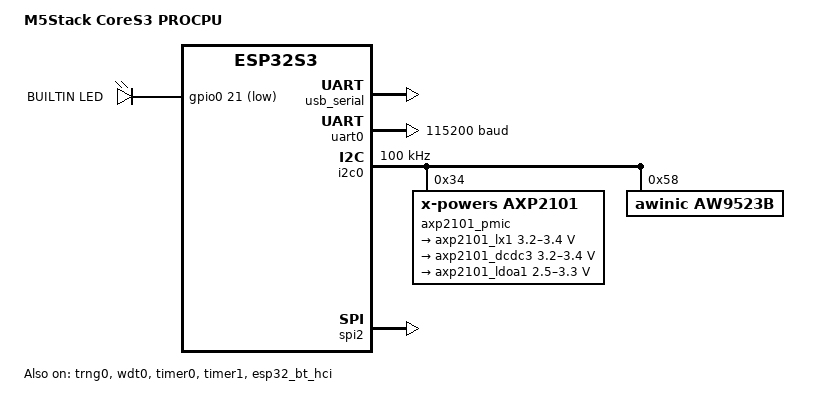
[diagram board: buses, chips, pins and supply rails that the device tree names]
/*
 * Copyright (c) 2024 Zhang Xingtao <zhxt@live.cn>
 *
 * SPDX-License-Identifier: Apache-2.0
 */

/dts-v1/;

#include <espressif/esp32s3/esp32s3_wroom_n16r8.dtsi>
#include "m5stack_cores3-pinctrl.dtsi"
#include <zephyr/dt-bindings/display/ili9xxx.h>
#include <zephyr/dt-bindings/gpio/gpio.h>

/ {
	model = "M5Stack CoreS3 PROCPU";
	compatible = "m5stack,cores3";

	chosen {
		zephyr,sram = &sram0;
		zephyr,console = &usb_serial;
		zephyr,shell-uart = &usb_serial;
		zephyr,flash = &flash0;
		zephyr,code-partition = &slot0_partition;
		zephyr,bt-hci = &esp32_bt_hci;
	};

	aliases {
		i2c-0 = &i2c0;
		watchdog0 = &wdt0;
		led0 = &led0;
	};

	leds {
		compatible = "gpio-leds";
		led0: led_0 {
			gpios = <&gpio0 21 GPIO_ACTIVE_LOW>;
			label = "BUILTIN LED";
		};
	};
};

&usb_serial {
	status = "okay";
};

&uart0 {
	status = "okay";
	current-speed = <115200>;
	pinctrl-0 = <&uart0_default>;
	pinctrl-names = "default";
};

&i2c0 {
	status = "okay";
	clock-frequency = <I2C_BITRATE_STANDARD>;
	pinctrl-0 = <&i2c0_default>;
	pinctrl-names = "default";

        axp2101_pmic: axp2101@34 {
                compatible = "x-powers,axp2101";
                reg = <0x34>;
                status = "okay";

                axp2101_regulator: axp2101_regulator {
                        compatible = "x-powers,axp2101-regulator";
                        status = "okay";

                        axp2101_lx1: DCDC1 {
                                regulator-init-microvolt = <3350000>;
                                regulator-min-microvolt = <3200000>;
                                regulator-max-microvolt = <3400000>;
                                regulator-initial-mode = < 0x0 >;
                                regulator-boot-on;
                                regulator-always-on;
                                status = "okay";
                        };

                       axp2101_dcdc3: DCDC3 {
                                regulator-init-microvolt = <3350000>;
                                regulator-min-microvolt = <3200000>;
                                regulator-max-microvolt = <3400000>;
                                regulator-initial-mode = < 0x0 >;
                                regulator-boot-on;
                                regulator-always-on;
                                status = "okay";
                        };

                        axp2101_ldoa1: LDOA1 {
                                regulator-init-microvolt = <2800000>;
                                regulator-min-microvolt = <2500000>;
                                regulator-max-microvolt = <3300000>;
                                regulator-initial-mode = < 0x0 >;
                                status = "okay";
                        };
		};
	};

        aw9523b: aw9523b@58 {
            compatible = "awinic,aw9523b";
            reg = <0x58>;
            status = "okay";

            aw9523b_gpio: aw9523b_gpio {
                compatible = "awinic,aw9523b-gpio";
                gpio-controller;
                #gpio-cells = <2>;
                ngpios = <16>;
                status = "okay";

                lcd_bl: aw9523b_gpio1 {
                        gpio-hog;
                        gpios = <1 (GPIO_OPEN_DRAIN | GPIO_ACTIVE_LOW)>;
                        output-high;
                        line-name = "lcd_bl";
                };
            };
        };
};

&trng0 {
	status = "okay";
};

&spi2 {
	#address-cells = <1>;
	#size-cells = <0>;
	status = "okay";
	pinctrl-0 = <&spim2_default>;
	pinctrl-names = "default";
};

&gpio0 {
	status = "okay";
};

&gpio1 {
	status = "okay";
};

&wdt0 {
	status = "okay";
};

&twai {
	pinctrl-0 = <&twai_default>;
	pinctrl-names = "default";
};

&timer0 {
	status = "okay";
};

&timer1 {
	status = "okay";
};

&flash0 {
	status = "okay";
	partitions {
		compatible = "fixed-partitions";
		#address-cells = <1>;
		#size-cells = <1>;

		boot_partition: partition@0 {
			label = "mcuboot";
			reg = <0x00000000 0x0000F000>;
			read-only;
		};

		slot0_partition: partition@10000 {
			label = "image-0";
			reg = <0x00010000 0x00100000>;
		};

		slot1_partition: partition@110000 {
			label = "image-1";
			reg = <0x00110000 0x00100000>;
		};

		scratch_partition: partition@210000 {
			label = "image-scratch";
			reg = <0x00210000 0x00040000>;
		};

		storage_partition: partition@250000 {
			label = "storage";
			reg = <0x00250000 0x00006000>;
		};
	};
};

&esp32_bt_hci {
	status = "okay";
};
